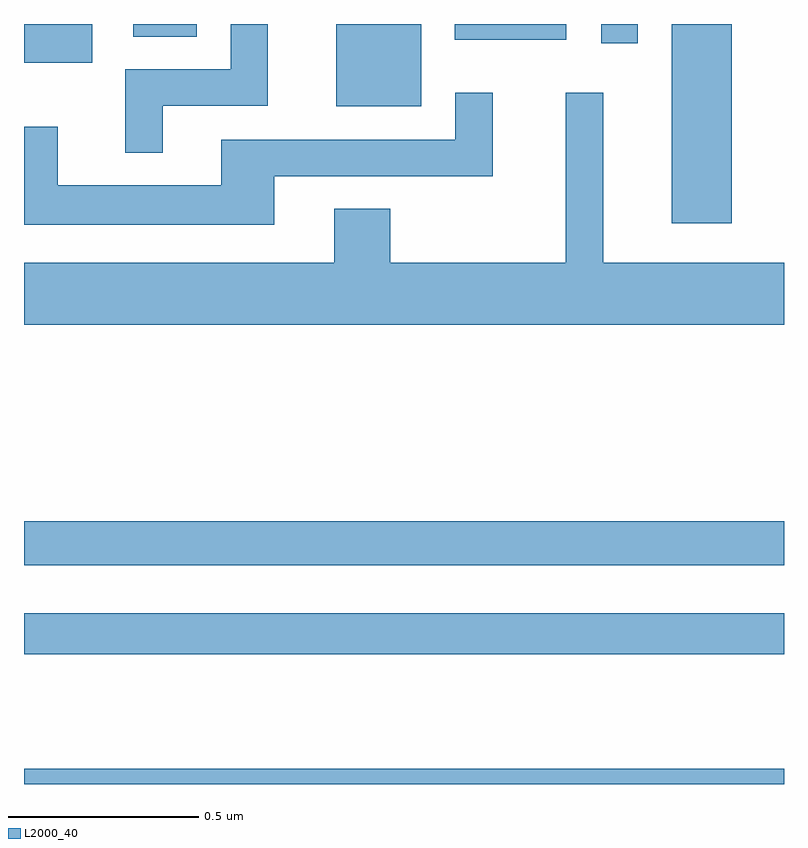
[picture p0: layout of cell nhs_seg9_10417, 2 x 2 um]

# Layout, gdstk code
import gdstk
lib = gdstk.Library(unit=1e-6, precision=1e-09)
def R(c, l, rs):  # rectangles x0, y0, x1, y1
    for r in rs: c.add(gdstk.rectangle(r[:2], r[2:], *l))
def P(c, l, *ps):  # polygons
    for p in ps: c.add(gdstk.Polygon(p, *l))
L2000_40 = (2000, 40)

nhs_seg9_10417 = lib.new_cell('nhs_seg9_10417')
R(nhs_seg9_10417, L2000_40, [(242,1240.5,244,1240.54), (242,1240.842,244,1240.95), (242,1241.076,244,1241.192), (243.704,1241.976,243.863,1242.5), (242.822,1242.284,243.046,1242.5), (242,1242.398,242.179,1242.5), (243.519,1242.45,243.615,1242.5), (243.134,1242.458,243.427,1242.5), (242.288,1242.466,242.455,1242.5)])
P(nhs_seg9_10417, L2000_40, [(242.365,1242.285),(242.642,1242.285),(242.642,1242.5),(242.544,1242.5),(242.544,1242.381),(242.267,1242.381),(242.267,1242.161),(242.365,1242.161)],
  [(244,1241.872),(243.524,1241.872),(243.524,1242.319),(243.425,1242.319),(243.425,1241.872),(242.964,1241.872),(242.964,1242.014),(242.816,1242.014),(242.816,1241.872),(242,1241.872),(242,1241.708),(244,1241.708)],
  [(242.659,1242.099),(243.233,1242.099),(243.233,1242.319),(243.135,1242.319),(243.135,1242.195),(242.519,1242.195),(242.519,1242.076),(242.089,1242.076),(242.089,1242.229),(242,1242.229),(242,1241.972),(242.659,1241.972)])

lib.write_gds('nhs_seg9_10417.gds')
